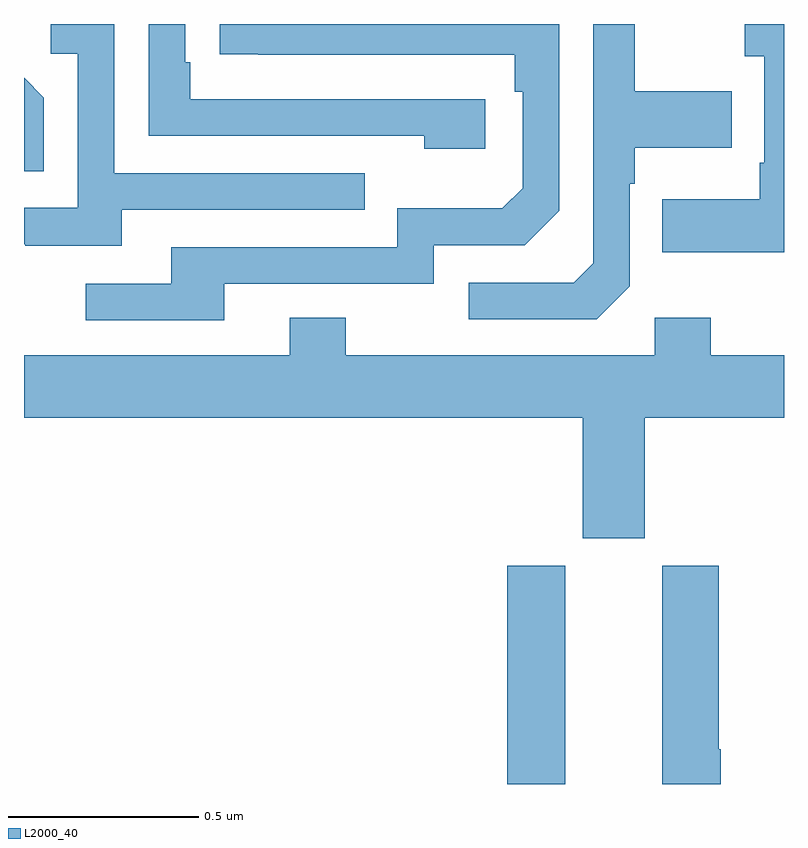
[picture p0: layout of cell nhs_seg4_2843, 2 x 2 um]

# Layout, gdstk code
import gdstk
lib = gdstk.Library(unit=1e-6, precision=1e-09)
def R(c, l, rs):  # rectangles x0, y0, x1, y1
    for r in rs: c.add(gdstk.rectangle(r[:2], r[2:], *l))
def P(c, l, *ps):  # polygons
    for p in ps: c.add(gdstk.Polygon(p, *l))
L2000_40 = (2000, 40)

nhs_seg4_2843 = lib.new_cell('nhs_seg4_2843')
R(nhs_seg4_2843, L2000_40, [(147.272,751.9,147.424,752.475)])
P(nhs_seg4_2843, L2000_40, [(147.594,753.21),(147.594,753.479),(147.607,753.479),(147.607,753.575),(147.863,753.575),(147.863,753.723),(147.607,753.723),(147.607,753.9),(147.498,753.9),(147.498,753.27),(147.447,753.219),(147.171,753.219),(147.171,753.123),(147.507,753.123)],
  [(146.257,753.411),(146.897,753.411),(146.897,753.507),(146.238,753.507),(146.238,753.9),(146.07,753.9),(146.07,753.822),(146.142,753.822),(146.142,753.417),(146,753.417),(146,753.321),(146.003,753.321),(146.003,753.317),(146.257,753.317)],
  [(148,753.9),(147.897,753.9),(147.897,753.815),(147.948,753.815),(147.948,753.535),(147.936,753.535),(147.936,753.439),(147.679,753.439),(147.679,753.299),(148,753.299)],
  [(147.214,753.702),(146.437,753.702),(146.437,753.799),(146.424,753.799),(146.424,753.9),(146.328,753.9),(146.328,753.606),(147.053,753.606),(147.053,753.572),(147.214,753.572)],
  [(146.527,753.216),(147.078,753.216),(147.078,753.318),(147.318,753.318),(147.408,753.408),(147.408,753.9),(146.515,753.9),(146.515,753.82),(146.617,753.82),(146.617,753.819),(147.292,753.819),(147.292,753.722),(147.312,753.722),(147.312,753.468),(147.259,753.415),(146.982,753.415),(146.982,753.312),(146.387,753.312),(146.387,753.216),(146.163,753.216),(146.163,753.12),(146.527,753.12)],
  [(146.052,753.706),(146,753.758),(146,753.513),(146.052,753.513)],
  [(147.634,752.864),(148,752.864),(148,753.028),(147.807,753.028),(147.807,753.127),(147.66,753.127),(147.66,753.028),(146.847,753.028),(146.847,753.127),(146.699,753.127),(146.699,753.028),(146,753.028),(146,752.864),(147.47,752.864),(147.47,752.547),(147.634,752.547)],
  [(147.833,751.992),(147.828,751.992),(147.828,752.475),(147.68,752.475),(147.68,751.9),(147.833,751.9)])

lib.write_gds('nhs_seg4_2843.gds')
